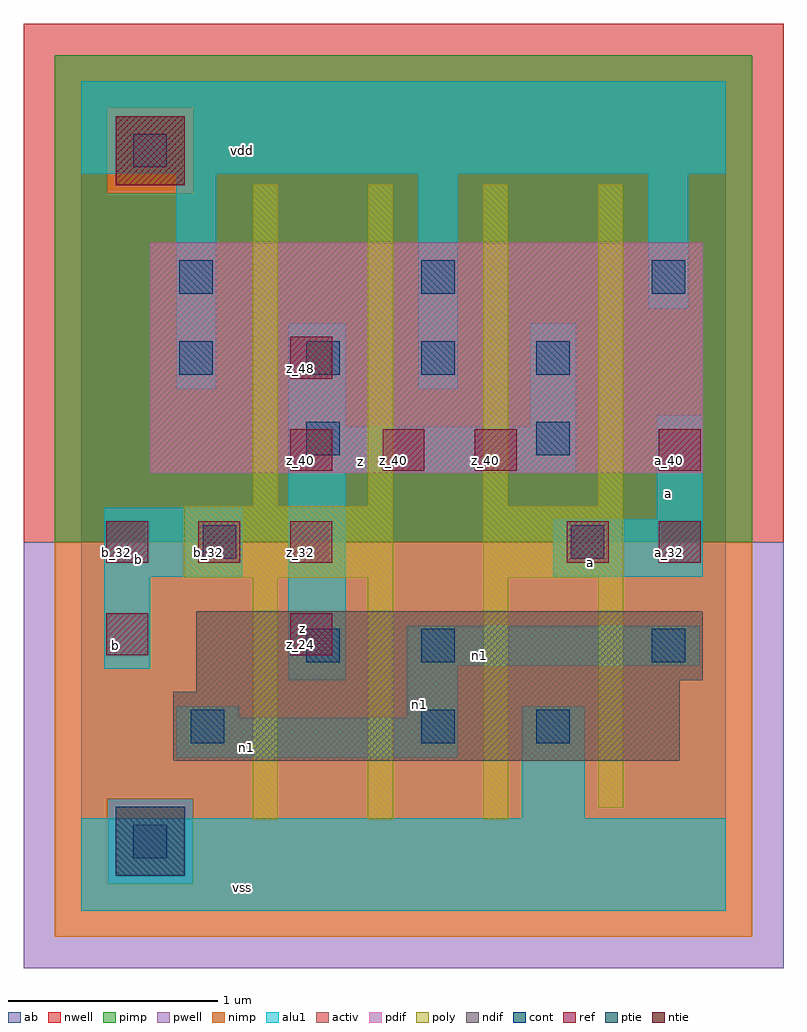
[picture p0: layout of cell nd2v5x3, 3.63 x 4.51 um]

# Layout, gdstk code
import gdstk
lib = gdstk.Library(unit=1e-6, precision=2.5e-09)
def R(c, l, rs):  # rectangles x0, y0, x1, y1
    for r in rs: c.add(gdstk.rectangle(r[:2], r[2:], *l))
def A(c, l, x, y, w, h, nx, ny, dx, dy):  # array of equal rectangles
    R(c, l, [(x+i*dx, y+j*dy, x+i*dx+w, y+j*dy+h) for i in range(nx) for j in range(ny)])
ndif = (3, 0)
pdif = (4, 0)
ntie = (5, 0)
ptie = (6, 0)
ref = (24, 0)
cont = (25, 0)
pwell = (41, 0)
nwell = (42, 0)
activ = (43, 0)
pimp = (44, 0)
nimp = (45, 0)
poly = (46, 0)
alu1 = (49, 0)
ab = (63, 0)

nd2v5x3 = lib.new_cell('nd2v5x3')
R(nd2v5x3, ndif, [(0.44,0.715,2.86,1.045), (0.55,1.045,2.86,1.1), (0.55,1.1,2.97,1.43)])
R(nd2v5x3, pdif, [(0.33,2.09,2.97,3.19)])
R(nd2v5x3, ntie, [(0.165,3.465,0.495,3.795)])
R(nd2v5x3, ptie, [(0.165,0.165,0.495,0.495)])
A(nd2v5x3, ref, 0.12, 1.66, 0.2, 0.2, 3, 1, 0.44, 0)
A(nd2v5x3, ref, 1, 2.1, 0.2, 0.2, 3, 1, 0.44, 0)
R(nd2v5x3, ref, [(0.12,1.22,0.32,1.42), (1,1.22,1.2,1.42), (2.32,1.66,2.52,1.86), (2.76,1.66,2.96,1.86), (2.76,2.1,2.96,2.3), (1,2.54,1.2,2.74)])
A(nd2v5x3, cont, 1.075, 2.56, 0.16, 0.16, 3, 1, 0.55, 0)
R(nd2v5x3, cont, [(0.25,0.25,0.41,0.41), (0.525,0.8,0.685,0.96), (1.625,0.8,1.785,0.96), (2.175,0.8,2.335,0.96), (1.075,1.185,1.235,1.345), (1.625,1.185,1.785,1.345), (2.725,1.185,2.885,1.345), (0.58,1.68,0.74,1.84), (2.34,1.68,2.5,1.84), (1.075,2.175,1.235,2.335), (2.175,2.175,2.335,2.335), (0.47,2.56,0.63,2.72), (0.47,2.945,0.63,3.105), (1.625,2.945,1.785,3.105), (2.725,2.945,2.885,3.105), (0.25,3.55,0.41,3.71)])
R(nd2v5x3, pwell, [(-0.275,-0.275,3.355,1.76)])
R(nd2v5x3, nwell, [(-0.275,1.76,3.355,4.235)])
R(nd2v5x3, activ, [(0.165,0.165,0.495,0.495), (0.44,0.715,2.86,1.045), (0.55,1.045,2.86,1.1), (0.55,1.1,2.97,1.43), (0.33,2.09,2.97,3.19), (0.165,3.465,0.495,3.795)])
R(nd2v5x3, pimp, [(0.125,0.125,0.535,0.535), (-0.125,1.76,3.205,3.425), (-0.125,3.425,0.125,3.835), (0.535,3.425,3.205,3.835), (-0.125,3.835,3.205,4.085)])
R(nd2v5x3, nimp, [(-0.125,-0.125,3.205,0.125), (-0.125,0.125,0.125,0.535), (0.535,0.125,3.205,0.535), (-0.125,0.535,3.205,1.76), (0.125,3.425,0.535,3.835)])
A(nd2v5x3, poly, 0.82, 0.435, 0.12, 1.155, 3, 1, 0.55, 0)
A(nd2v5x3, poly, 0.82, 1.93, 0.12, 1.54, 4, 1, 0.55, 0)
R(nd2v5x3, poly, [(2.47,0.49,2.59,1.59), (0.49,1.59,1.49,1.93), (1.92,1.59,2.59,1.93)])
R(nd2v5x3, alu1, [(0,0,3.08,0.44), (2.105,0.44,2.405,0.975), (0.455,0.73,1.8,0.92), (0.455,0.92,0.755,0.975), (1.555,0.92,1.8,1.17), (0.99,1.1,1.265,2.09), (0.11,1.155,0.33,1.595), (1.555,1.17,2.955,1.36), (0.11,1.595,0.77,1.925), (2.255,1.595,2.97,1.87), (2.75,1.87,2.97,2.365), (0.99,2.09,2.365,2.31), (0.99,2.31,1.265,2.805), (2.145,2.31,2.365,2.805), (0.455,2.49,0.645,3.52), (1.61,2.49,1.8,3.52), (2.71,2.875,2.9,3.52), (0,3.52,3.08,3.96)])
R(nd2v5x3, ab, [(0,0,3.08,3.96)])
nd2v5x3.add(gdstk.Label('vss', (0.77,0.11), layer=49, texttype=0))
nd2v5x3.add(gdstk.Label('n1', (0.79,0.7775), layer=49, texttype=0))
nd2v5x3.add(gdstk.Label('n1', (1.615,0.9825), layer=49, texttype=0))
nd2v5x3.add(gdstk.Label('n1', (1.905,1.2175), layer=49, texttype=0))
nd2v5x3.add(gdstk.Label('a', (2.4325,1.6625), layer=49, texttype=0))
nd2v5x3.add(gdstk.Label('a', (2.805,1.9925), layer=49, texttype=0))
nd2v5x3.add(gdstk.Label('z', (1.0575,1.3475), layer=49, texttype=0))
nd2v5x3.add(gdstk.Label('b', (0.165,1.265), layer=49, texttype=0))
nd2v5x3.add(gdstk.Label('b', (0.275,1.6775), layer=49, texttype=0))
nd2v5x3.add(gdstk.Label('z', (1.3325,2.145), layer=49, texttype=0))
nd2v5x3.add(gdstk.Label('vdd', (0.77,3.63), layer=49, texttype=0))
nd2v5x3.add(gdstk.Label('a_40', (2.81,2.15), layer=24, texttype=0))
nd2v5x3.add(gdstk.Label('z_40', (1.93,2.15), layer=24, texttype=0))
nd2v5x3.add(gdstk.Label('z_40', (1.49,2.15), layer=24, texttype=0))
nd2v5x3.add(gdstk.Label('b_32', (0.17,1.71), layer=24, texttype=0))
nd2v5x3.add(gdstk.Label('b_24', (0.17,1.27), layer=24, texttype=0))
nd2v5x3.add(gdstk.Label('z_40', (1.05,2.15), layer=24, texttype=0))
nd2v5x3.add(gdstk.Label('z_32', (1.05,1.71), layer=24, texttype=0))
nd2v5x3.add(gdstk.Label('z_24', (1.05,1.27), layer=24, texttype=0))
nd2v5x3.add(gdstk.Label('b_32', (0.61,1.71), layer=24, texttype=0))
nd2v5x3.add(gdstk.Label('a_32', (2.81,1.71), layer=24, texttype=0))
nd2v5x3.add(gdstk.Label('a_32', (2.37,1.71), layer=24, texttype=0))
nd2v5x3.add(gdstk.Label('z_48', (1.05,2.59), layer=24, texttype=0))

lib.write_gds('nd2v5x3.gds')
